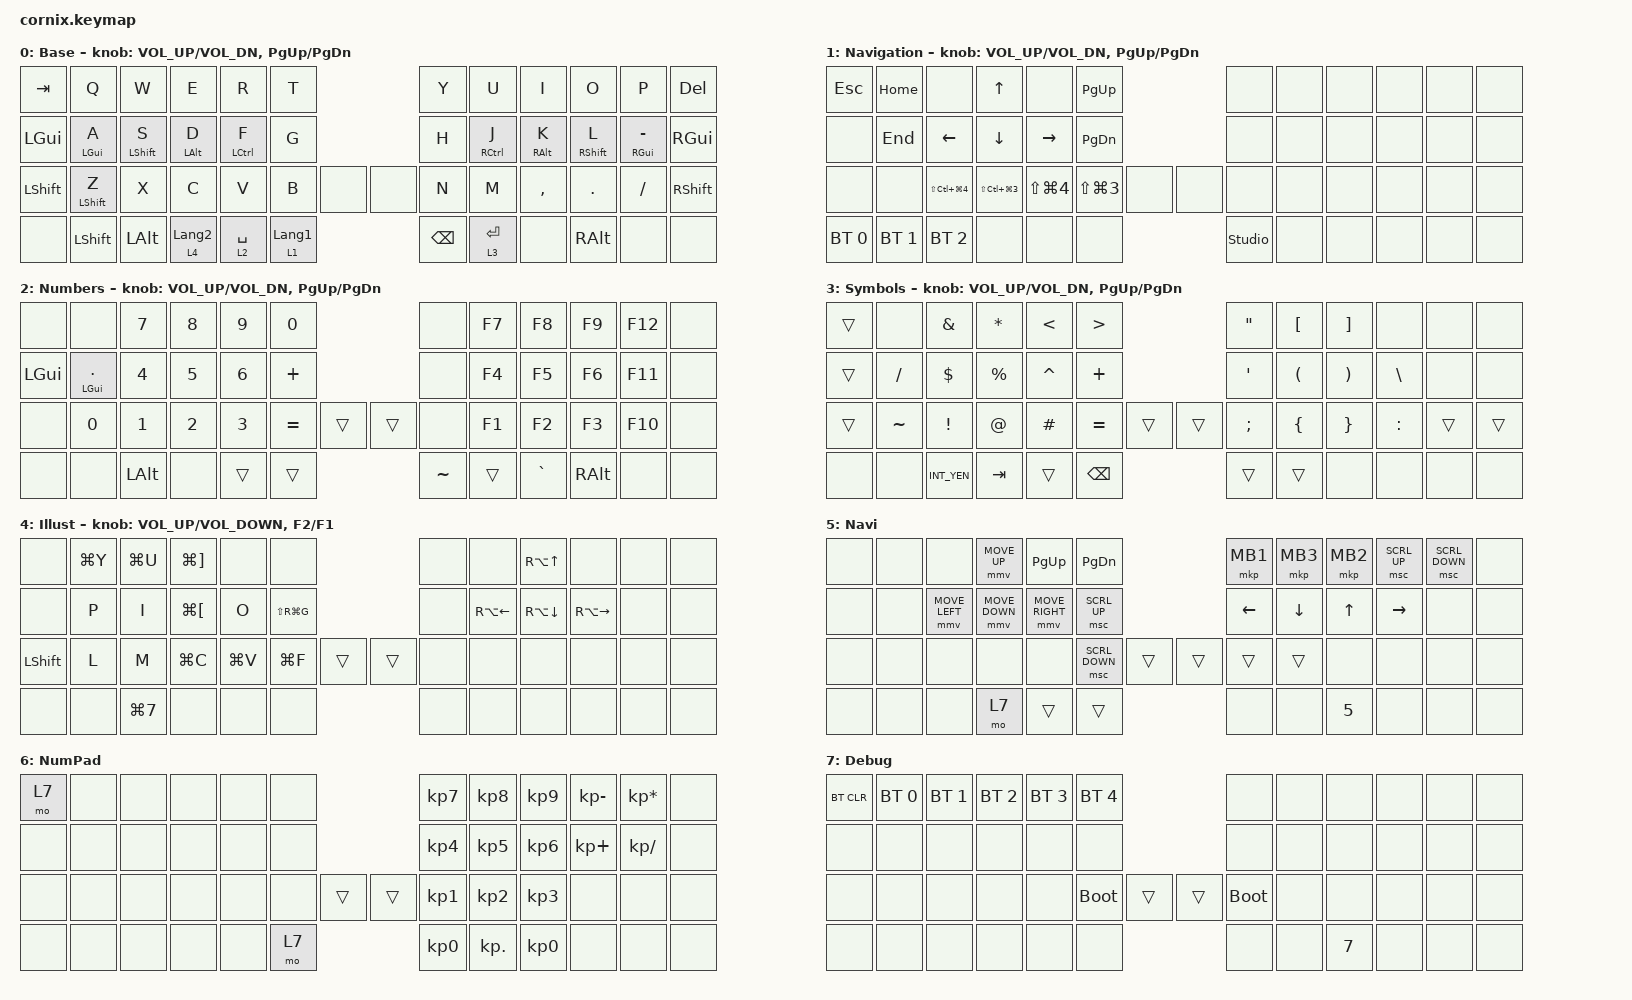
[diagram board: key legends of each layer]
/*
 * Copyright (c) 2020 The ZMK Contributors
 *
 * SPDX-License-Identifier: MIT
 */

#include "zmk-helpers/helper.h"
#include "includes/cornix54.h"

// tap windows for ctl alt and gui

#define HM_TAPPING_TERM 220
#define HM_TAPPING_REPEAT 175

// quick tapping for shift

#define HM_TAPPING_TERM_FAST 200
#define HM_PRIOR_IDLE 150
#define BASE 0
#define WIN 1
#define LOWER 2
#define RAISE 3
#define ADJUST 4
#define NAVI   5
#define NUM    6
#define DEBUG  7

// https://github.com/urob/zmk-config/tree/main#timeless-homerow-mods

#define KEYS_L LT0 LT1 LT2 LT3 LT4 LT5 LM0 LM1 LM2 LM3 LM4 LM5 LB0 LB1 LB2 LB3 LB4 LB5  // left hand
#define KEYS_R RT0 RT1 RT2 RT3 RT4 RT5 RM0 RM1 RM2 RM3 RM4 RM5 RB0 RB1 RB2 RB3 RB4 RB5  // right hand
#define THUMBS LH1 LH0 RH0 RH1
#define KEYS_T LH1 LH0 RH0 RH1
#define ZMK_POINTING_DEFAULT_SCRL_VAL 15

#include <behaviors.dtsi>
#include <dt-bindings/zmk/bt.h>
#include <dt-bindings/zmk/keys.h>
#include <dt-bindings/zmk/pointing.h>

/ {
    // Activate ADJUST layer by pressing raise and lower

    behaviors {
        hm_l: homerow_mods_left {
            compatible = "zmk,behavior-hold-tap";
            #binding-cells = <2>;
            bindings = <&kp>, <&kp>;

            flavor = "balanced";
            tapping-term-ms = <HM_TAPPING_TERM>;
            quick-tap-ms = <HM_TAPPING_REPEAT>;               // repeat on tap-into-hold
            require-prior-idle-ms = <HM_PRIOR_IDLE>;
            hold-trigger-key-positions = <KEYS_R KEYS_T>;
            hold-trigger-on-release;
        };

        hm_r: homerow_mods_right {
            compatible = "zmk,behavior-hold-tap";
            #binding-cells = <2>;
            bindings = <&kp>, <&kp>;

            flavor = "balanced";
            tapping-term-ms = <HM_TAPPING_TERM>;
            quick-tap-ms = <HM_TAPPING_REPEAT>;
            require-prior-idle-ms = <HM_PRIOR_IDLE>;
            hold-trigger-key-positions = <KEYS_L KEYS_T>;
            hold-trigger-on-release;
        };

        // Positional Homerow mods for shift
        // Use faster tapping term and disable some features that may
        // cause false negatives.

        hm_shift_l: hm_shift_l {
            compatible = "zmk,behavior-hold-tap";
            #binding-cells = <2>;
            bindings = <&kp>, <&kp>;

            //flavor = "balanced";

            flavor = "balanced";
            tapping-term-ms = <HM_TAPPING_TERM_FAST>;
            quick-tap-ms = <200>;
            require-prior-idle-ms = <HM_PRIOR_IDLE>;
            hold-trigger-key-positions = <KEYS_R KEYS_T>;
            hold-trigger-on-release;
        };

        hm_shift_r: hm_shift_r {
            compatible = "zmk,behavior-hold-tap";
            #binding-cells = <2>;
            bindings = <&kp>, <&kp>;

            flavor = "balanced";
            tapping-term-ms = <HM_TAPPING_TERM_FAST>;
            quick-tap-ms = <200>;
            require-prior-idle-ms = <HM_PRIOR_IDLE>;
            hold-trigger-key-positions = <KEYS_L KEYS_T>;

            // for quick tapping; shift+~

            hold-trigger-on-release;
        };

        /*
         * Non-Positional Homerow Mods
         * Used for &mm_grescm_gui behavior on left hand.
         *
         * Usage: &hm LSHFT T
         * Tap: T
         * Tap-Tap-Hold: Repeat T
         * Hold: LSHIFT
         */

        hm: homerow_mods {
            compatible = "zmk,behavior-hold-tap";
            #binding-cells = <2>;
            bindings = <&kp>, <&kp>;

            flavor = "balanced";
            tapping-term-ms = <HM_TAPPING_TERM>;
            quick-tap-ms = <200>;
        };

        lt: layer_tap {
            compatible = "zmk,behavior-hold-tap";
            #binding-cells = <2>;
            bindings = <&mo>, <&kp>;

            flavor = "hold-preferred";
            tapping-term-ms = <HM_TAPPING_TERM>;
            quick-tap-ms = <200>;
        };

        lt2space: layer_tap_space {
            compatible = "zmk,behavior-hold-tap";
            #binding-cells = <2>;
            bindings = <&mo>, <&kp>;

            flavor = "tap-preferred";
            tapping-term-ms = <150>;
            quick-tap-ms = <125>;
            require-prior-idle-ms = <120>;
        };
    };

    /*
    conditional_layers {
        compatible = "zmk,conditional-layers";

        adjust_layer {
            if-layers = <3 2>;
            then-layer = <4>;
        };
    };
*/

    combos {
        compatible = "zmk,combos";

        Enter {
            bindings = <&kp ENTER>;
            key-positions = <14 15 16>;
            layers = <0>;
        };

        bksp {
            bindings = <&kp BACKSPACE>;
            key-positions = <26 27>;
            layers = <0>;
        };
    };

    keymap {
        compatible = "zmk,keymap";

        default_layer {
            display-name = "Base";

            // ------------------------------------------------------------------------------------------------------------
            // |   `   |  1  |  2  |  3   |  4   |  5   |                   |  6   |  7    |  8    |  9   |   0   |       |
            // |  ESC  |  Q  |  W  |  E   |  R   |  T   |                   |  Y   |  U    |  I    |  O   |   P   | BKSPC |
            // |  TAB  |  A  |  S  |  D   |  F   |  G   |                   |  H   |  J    |  K    |  L   |   ;   |   '   |
            // | SHIFT |  Z  |  X  |  C   |  V   |  B   |  MUTE  |  |       |  N   |  M    |  ,    |  .   |   /   | SHIFT |
            //               | GUI | ALT  | CTRL | LOWER|  ENTER |  | SPACE | RAISE| CTRL  | ALT   | GUI  |

            bindings = <
&kp TAB         &kp Q               &kp W             &kp E             &kp R              &kp T                           &kp Y          &kp U        &kp I            &kp O          &kp P                  &kp DEL
&kp LEFT_GUI    &hm_l LEFT_GUI A    &hm LEFT_SHIFT S  &hm LEFT_ALT D    &hm LCTRL F        &kp G                           &kp H          &hm RCTRL J  &hm RIGHT_ALT K  &hm RSHFT L    &hm_r RIGHT_GUI MINUS  &kp RIGHT_GUI
&kp LEFT_SHIFT  &hm_l LEFT_SHIFT Z  &kp X             &kp C             &kp V              &kp B             &none  &none  &kp N          &kp M        &kp COMMA        &kp DOT        &kp SLASH              &kp RIGHT_SHIFT
&none           &kp LEFT_SHIFT      &kp LEFT_ALT      &lt 4 LANGUAGE_2  &lt2space 2 SPACE  &lt 1 LANGUAGE_1                &kp BACKSPACE  &lt 3 ENTER  &none            &kp RIGHT_ALT  &none                  &none
            >;

            sensor-bindings = <&inc_dec_kp C_VOL_UP C_VOL_DN &inc_dec_kp PG_UP PG_DN>;
        };

        Navigation_layar {
            display-name = "Navigation";

            // ------------------------------------------------------------------------------------------------------------
            // |   `   |  1  |  2  |  3   |  4   |  5   |                   |  6   |  7    |  8    |  9   |   0   |       |
            // |  ESC  |  Q  |  W  |  E   |  R   |  T   |                   |  Y   |  U    |  I    |  O   |   P   | BKSPC |
            // |  TAB  |  A  |  S  |  D   |  F   |  G   |                   |  H   |  J    |  K    |  L   |   ;   |   '   |
            // | SHIFT |  Z  |  X  |  C   |  V   |  B   |  MUTE  |  |       |  N   |  M    |  ,    |  .   |   /   | SHIFT |
            //               | GUI | ALT  | CTRL | LOWER|  ENTER |  | SPACE | RAISE| CTRL  | ALT   | GUI  |

            bindings = <
&kp ESC       &kp HOME      &none                     &kp UP                    &none                 &kp PG_UP                           &none           &none  &none  &none  &none  &none
&none         &kp END       &kp LEFT_ARROW            &kp DOWN                  &kp RIGHT_ARROW       &kp PAGE_DOWN                       &none           &none  &none  &none  &none  &none
&none         &none         &kp LS(LC(LG(NUMBER_4)))  &kp LS(LC(LG(NUMBER_3)))  &kp LS(LG(NUMBER_4))  &kp LS(LG(NUMBER_3))  &none  &none  &none           &none  &none  &none  &none  &none
&bt BT_SEL 0  &bt BT_SEL 1  &bt BT_SEL 2              &none                     &none                 &none                               &studio_unlock  &none  &none  &none  &none  &none
            >;

            sensor-bindings = <&inc_dec_kp C_VOL_UP C_VOL_DN &inc_dec_kp PG_UP PG_DN>;
        };

        Number_layer {
            display-name = "Numbers";

            // TODO: Some binds are waiting for shifted keycode support.
            // -------------------------------
            // |       |  F1 |  F2 |  F3  |  F4  |  F5  |                   |  F6  |  F7   |  F8   |  F9  |  F10  |  F11  |
            // |   `   |  1  |  2  |  3   |  4   |  5   |                   |  6   |  7    |  8    |  9   |   0   |  F12  |
            // |       |  !  |  @  |  #   |  $   |  %   |                   |  ^   |  &    |  *    |  (   |   )   |   |   |
            // |       |  =  |  -  |  +   |  {   |  }   |        |  |       |  [   |  ]    |  ;    |  :   |   \   |       |
            //               |     |      |      |      |        |  |       |      |       |       |      |

            bindings = <
&none         &none                &kp N7        &kp N8        &kp N9        &kp N0                     &none      &kp F7  &kp F8     &kp F9         &kp F12  &none
&kp LEFT_GUI  &hm LEFT_GUI PERIOD  &kp NUMBER_4  &kp N5        &kp NUMBER_6  &kp PLUS                   &none      &kp F4  &kp F5     &kp F6         &kp F11  &none
&none         &kp N0               &kp NUMBER_1  &kp NUMBER_2  &kp NUMBER_3  &kp EQUAL  &trans  &trans  &none      &kp F1  &kp F2     &kp F3         &kp F10  &none
&none         &none                &kp LEFT_ALT  &none         &trans        &trans                     &kp TILDE  &trans  &kp GRAVE  &kp RIGHT_ALT  &none    &none
            >;

            sensor-bindings = <&inc_dec_kp C_VOL_UP C_VOL_DN &inc_dec_kp PG_UP PG_DN>;
        };

        Symbol_layer {
            display-name = "Symbols";

            // ------------------------------------------------------------------------------------------------------------
            // | BTCLR | BT1  | BT2  |  BT3  |  BT4  |  BT5 |                |      |      |       |      |       |       |
            // |       | INS  | PSCR | GUI   |       |      |                | PGUP |      |   ^   |      |       |       |
            // |       | ALT  | CTRL | SHIFT |       | CAPS |                | PGDN |   <- |   v   |  ->  |  DEL  | BKSPC |
            // |       | UNDO | CUT  | COPY  | PASTE |      |      |  |      |      |      |       |      |       |       |
            //                |      |       |       |      |      |  |      |      |      |       |      |

            bindings = <
&trans  &none      &kp AMPS     &kp ASTRK    &kp LESS_THAN  &kp GREATER_THAN                  &kp DOUBLE_QUOTES  &kp LBKT  &kp RBKT  &none      &none   &none
&trans  &kp SLASH  &kp DLLR     &kp PERCENT  &kp CARET      &kp PLUS                          &kp SQT            &kp LPAR  &kp RPAR  &kp BSLH   &none   &none
&trans  &kp TILDE  &kp EXCL     &kp AT       &kp HASH       &kp EQUAL         &trans  &trans  &kp SEMI           &kp LBRC  &kp RBRC  &kp COLON  &trans  &trans
&none   &none      &kp INT_YEN  &kp TAB      &trans         &kp BACKSPACE                     &trans             &trans    &none     &none      &none   &none
            >;

            sensor-bindings = <&inc_dec_kp C_VOL_UP C_VOL_DN &inc_dec_kp PG_UP PG_DN>;
        };

        Illust_layer {
            display-name = "Illust";

            // ----------------------------------------------------------------------------------------------------------------------------
            // | BTCLR  |  BT1    |  BT2    |   BT3   |   BT4   |   BT5   |                  |      |      |       |      |       |       |
            // | moDEBUG| RGB_HUD | RGB_HUI | RGB_SAD | RGB_SAI | RGB_EFF |                  |      |      |       |      |       |       |
            // | EXTPWR | RGB_BRD | RGB_BRI |         |         |         |                  |      |      |       |      |       |       |
            // |        |         |         |         |         |         | RGB_TOG | |      |      |      |       |      |       |       |
            //                    |         |         |         |         |         | |      |      |      |       |      |

            bindings = <
&none           &kp LG(Y)  &kp LG(U)   &kp LG(RIGHT_BRACKET)  &none      &none                          &none  &none               &kp RA(UP)          &none          &none  &none
&none           &kp P      &kp I       &kp LG(LEFT_BRACKET)   &kp O      &kp LS(RG(G))                  &none  &kp RA(LEFT_ARROW)  &kp RA(DOWN_ARROW)  &kp RA(RIGHT)  &none  &none
&kp LEFT_SHIFT  &kp L      &kp M       &kp LG(C)              &kp LG(V)  &kp LG(F)      &trans  &trans  &none  &none               &none               &none          &none  &none
&none           &none      &kp LG(N7)  &none                  &none      &none                          &none  &none               &none               &none          &none  &none
            >;

            sensor-bindings =
                <&inc_dec_kp C_VOLUME_UP C_VOLUME_DOWN>,
                <&inc_dec_kp F2 F1>;
        };

        Navi_layer {
            display-name = "Navi";
            bindings = <
&none  &none  &none           &mmv MOVE_UP    &kp PAGE_UP      &kp PAGE_DOWN                   &mkp MB1  &mkp MB3  &mkp MB2  &msc SCRL_UP  &msc SCRL_DOWN  &none
&none  &none  &mmv MOVE_LEFT  &mmv MOVE_DOWN  &mmv MOVE_RIGHT  &msc SCRL_UP                    &kp LEFT  &kp DOWN  &kp UP    &kp RIGHT     &none           &none
&none  &none  &none           &none           &none            &msc SCRL_DOWN  &trans  &trans  &trans    &trans    &none     &none         &none           &none
&none  &none  &none           &mo 7           &trans           &trans                          &none     &none     &kp N5    &none         &none           &none
            >;
        };

        KeyPad_layer {
            display-name = "NumPad";
            bindings = <
&mo 7  &none  &none  &none  &none  &none                  &kp KP_N7        &kp KP_N8        &kp KP_N9        &kp KP_MINUS  &kp KP_MULTIPLY  &none
&none  &none  &none  &none  &none  &none                  &kp KP_NUMBER_4  &kp KP_NUMBER_5  &kp KP_N6        &kp KP_PLUS   &kp KP_DIVIDE    &none
&none  &none  &none  &none  &none  &none  &trans  &trans  &kp KP_NUMBER_1  &kp KP_NUMBER_2  &kp KP_N3        &none         &none            &none
&none  &none  &none  &none  &none  &mo 7                  &kp KP_N0        &kp KP_DOT       &kp KP_NUMBER_0  &none         &none            &none
            >;
        };

        Debug_layer {
            display-name = "Debug";

            // ----------------------------------------------------------------------------------------------------------------------------
            // | BTCLR  |  BT1    |  BT2    |   BT3   |   BT4   |   BT5   |                  |      |      |       |      |       |       |
            // | EXTPWR | BTCLR | RGB_HUI | RGB_SAD | RGB_SAI | RGB_EFF |                  |      |      |       |      |       |       |
            // |        | RGB_BRD | RGB_BRI |         |         |         |                  |      |      |       |      |       |       |
            // |        |         |         |         |         |         | RGB_TOG | |      |      |      |       |      |       |       |
            //                    |         |         |         |         |         | |      |      |      |       |      |

            bindings = <
&bt BT_CLR  &bt BT_SEL 0  &bt BT_SEL 1  &bt BT_SEL 2  &bt BT_SEL 3  &bt BT_SEL 4                  &none        &none  &none   &none  &none  &none
&none       &none         &none         &none         &none         &none                         &none        &none  &none   &none  &none  &none
&none       &none         &none         &none         &none         &bootloader   &trans  &trans  &bootloader  &none  &none   &none  &none  &none
&none       &none         &none         &none         &none         &none                         &none        &none  &kp N7  &none  &none  &none
            >;
        };
    };
};
